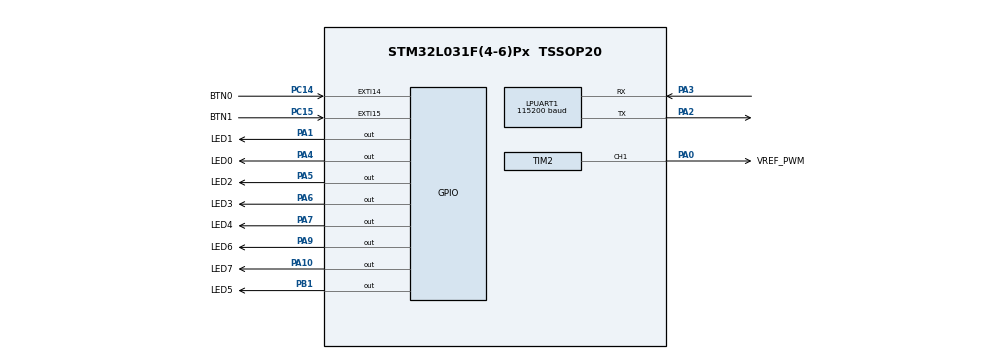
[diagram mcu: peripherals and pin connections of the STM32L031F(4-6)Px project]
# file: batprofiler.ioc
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LPUART1.BaudRate=115200
LPUART1.WordLength=UART_WORDLENGTH_8B
Mcu.Family=STM32L0
Mcu.Name=STM32L031F(4-6)Px
Mcu.Package=TSSOP20
NVIC.EXTI4_15_IRQn=true\:0\:0\:false\:false\:true\:true\:true\:true
NVIC.LPUART1_IRQn=true\:0\:0\:false\:false\:true\:true\:true\:true
NVIC.TIM21_IRQn=true\:0\:0\:false\:false\:true\:true\:true\:true
NVIC.TIM22_IRQn=true\:0\:0\:false\:false\:true\:true\:true\:true
PA0-CK_IN.GPIO_Label=VREF_PWM
PA0-CK_IN.GPIO_Speed=GPIO_SPEED_FREQ_HIGH
PA0-CK_IN.Signal=S_TIM2_CH1
PA1.GPIO_Label=LED1
PA1.Signal=GPIO_Output
PA10.GPIO_Label=LED7
PA10.Signal=GPIO_Output
PA13.Mode=Serial_Wire
PA13.Signal=SYS_SWDIO
PA14.Mode=Serial_Wire
PA14.Signal=SYS_SWCLK
PA2.Mode=Asynchronous
PA2.Signal=LPUART1_TX
PA3.Mode=Asynchronous
PA3.Signal=LPUART1_RX
PA4.GPIO_Label=LED0
PA4.Signal=GPIO_Output
PA5.GPIO_Label=LED2
PA5.Signal=GPIO_Output
PA6.GPIO_Label=LED3
PA6.Signal=GPIO_Output
PA7.GPIO_Label=LED4
PA7.Signal=GPIO_Output
PA9.GPIO_Label=LED6
PA9.Signal=GPIO_Output
PB1.GPIO_Label=LED5
PB1.Signal=GPIO_Output
PC14-OSC32_IN.GPIO_Label=BTN0
PC14-OSC32_IN.GPIO_ModeDefaultEXTI=GPIO_MODE_IT_FALLING
PC14-OSC32_IN.GPIO_PuPd=GPIO_PULLUP
PC14-OSC32_IN.Signal=GPXTI14
PC15-OSC32_OUT.GPIO_Label=BTN1
PC15-OSC32_OUT.GPIO_ModeDefaultEXTI=GPIO_MODE_IT_FALLING
PC15-OSC32_OUT.GPIO_PuPd=GPIO_PULLUP
PC15-OSC32_OUT.Signal=GPXTI15
ProjectManager.HeapSize=0x200
ProjectManager.StackSize=0x400
ProjectManager.TargetToolchain=STM32CubeIDE
RCC.AHBFreq_Value=16000000
RCC.APB1Freq_Value=16000000
RCC.APB1TimFreq_Value=16000000
RCC.APB2Freq_Value=16000000
RCC.APB2TimFreq_Value=16000000
RCC.HCLKFreq_Value=16000000
RCC.HSE_VALUE=8000000
RCC.HSI16_VALUE=16000000
RCC.HSI_VALUE=16000000
RCC.LSE_VALUE=32768
RCC.LptimClockSelection=RCC_LPTIM1CLKSOURCE_LSI
RCC.MSI_VALUE=2097000
RCC.SYSCLKFreq_VALUE=16000000
RCC.SYSCLKSource=RCC_SYSCLKSOURCE_HSI
RCC.VCOOutputFreq_Value=48000000
SH.S_TIM2_CH1.0=TIM2_CH1,PWM Generation1 CH1
TIM2.Channel-PWM\ Generation1\ CH1=TIM_CHANNEL_1
TIM2.OCFastMode_PWM-PWM\ Generation1\ CH1=TIM_OCFAST_ENABLE
TIM2.Period=10000
TIM2.Pulse-PWM\ Generation1\ CH1=2000
TIM21.Channel-Output\ Compare1\ No\ Output=TIM_CHANNEL_1
TIM21.Channel-Output\ Compare2\ No\ Output=TIM_CHANNEL_2
TIM21.ClockDivision=TIM_CLOCKDIVISION_DIV4
TIM21.Prescaler=4000
TIM22.Channel-Output\ Compare1\ No\ Output=TIM_CHANNEL_1
TIM22.Channel-Output\ Compare2\ No\ Output=TIM_CHANNEL_2
TIM22.ClockDivision=TIM_CLOCKDIVISION_DIV4
TIM22.Prescaler=4000
VP_TIM21_VS_ClockSourceINT.Mode=Internal
VP_TIM21_VS_no_output1.Mode=Output Compare1 No Output
VP_TIM21_VS_no_output2.Mode=Output Compare2 No Output
VP_TIM22_VS_ClockSourceINT.Mode=Internal
VP_TIM22_VS_no_output1.Mode=Output Compare1 No Output
VP_TIM22_VS_no_output2.Mode=Output Compare2 No Output
VP_TIM2_VS_ClockSourceINT.Mode=Internal
board=custom

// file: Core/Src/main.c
/* USER CODE BEGIN Header */
/**
  ******************************************************************************
  * @file           : main.c
  * @brief          : Main program body
  ******************************************************************************
  * @attention
  *
  * Copyright (c) 2025 STMicroelectronics.
  * All rights reserved.
  *
  * This software is licensed under terms that can be found in the LICENSE file
  * in the root directory of this software component.
  * If no LICENSE file comes with this software, it is provided AS-IS.
  *
  ******************************************************************************
  */
/* USER CODE END Header */
#include "main.h"
#include "usart.h"
#include "tim.h"
#include "gpio.h"

/* USER CODE BEGIN Includes */
#include "bat_profiler.h"
#include "str_buf.h"

/* USER CODE END Includes */

/* USER CODE BEGIN PV */
volatile uint32_t global_event = 0;

#define MAIN_STR_SIZE (128)
static char main_str[MAIN_STR_SIZE];

/* USER CODE END PV */

void SystemClock_Config(void);

/* USER CODE BEGIN 0 */
void get_program_id_string(char *str, uint16_t str_size) {
	str_buf_clear(str, str_size);
	str_buf_append_string(str, str_size, "program id: ");
	str_buf_append_string(str, str_size, PROGRAM_NAME);
	str_buf_append_string(str, str_size, ", compiled: ");
	str_buf_append_string(str, str_size, __DATE__);
	str_buf_append_string(str, str_size, ", ");
	str_buf_append_string(str, str_size, __TIME__);
	str_buf_append_string(str, str_size, "\n");
}

/* USER CODE END 0 */

int main(void)
{

  /* USER CODE BEGIN 1 */
	uint32_t primask = 0;
	uint32_t local_event = 0;

  /* USER CODE END 1 */

  /* MCU Configuration--------------------------------------------------------*/

  /* Reset of all peripherals, Initializes the Flash interface and the Systick. */
  LL_APB2_GRP1_EnableClock(LL_APB2_GRP1_PERIPH_SYSCFG);
  LL_APB1_GRP1_EnableClock(LL_APB1_GRP1_PERIPH_PWR);

  /* SysTick_IRQn interrupt configuration */
  NVIC_SetPriority(SysTick_IRQn, 3);

  /* Configure the system clock */
  SystemClock_Config();

  /* Initialize all configured peripherals */
  MX_GPIO_Init();
  MX_TIM2_Init();
  MX_LPUART1_UART_Init();
  MX_TIM21_Init();
  MX_TIM22_Init();
  /* USER CODE BEGIN 2 */

  gpio_set_led(ALL_LEDS_MASK);

  get_program_id_string(main_str, MAIN_STR_SIZE);
  uart_send_str_buf_blocking(main_str, MAIN_STR_SIZE);

  tim21_start();
  tim22_start();

  gpio_clear_led(ALL_LEDS_MASK);
  bp_init();
  bp_print_out_profiles();
  bp_start();

  /* USER CODE END 2 */

  /* Infinite loop */
  /* USER CODE BEGIN WHILE */
  while (1)
  {
	  if(local_event & EV_BTN0) {
	        tim21_ch1_start_single_timeout(1000, EV_BTN0_TIMEOUT);
	        bp_process_events(EV_BTN0_PRESSED);
	      }
	      if(local_event & EV_BTN0_TIMEOUT) {
	      	if(LL_GPIO_IsInputPinSet(BTN0_GPIO_Port, BTN0_Pin) == 0) {
	      		// still pressed
	      		bp_process_events(EV_BTN0_LONG);
	      	}
	      }
	      if(local_event & EV_BTN1) {
	        tim21_ch2_start_single_timeout(1000, EV_BTN1_TIMEOUT);
	        bp_process_events(EV_BTN1_PRESSED);
	      }
	      if(local_event & EV_BTN1_TIMEOUT) {
	      	if(LL_GPIO_IsInputPinSet(BTN1_GPIO_Port, BTN1_Pin) == 0) {
	  			// still pressed
	      		bp_process_events(EV_BTN1_LONG);
	      	}
	      }
	      if(local_event & EV_BPROFILER_TIMEOUT1) {
	    	  bp_process_events(EV_TIMEOUT1);
	      }

	  		// wait for global events
	  		while(1) {
	  			// sync global events
	  			primask = __get_PRIMASK();  // Save current interrupt state
	  			__disable_irq();            // Disable all interrupts

	  			local_event = global_event;
	  			global_event = 0;

	  			__set_PRIMASK(primask);     // Restore previous interrupt state

	  			if(local_event) {
	  				// process event
	  				break;
	  			}

	  			// else go to sleep
	  			LL_LPM_EnableSleep();  // This clears SLEEPDEEP

	  			// Enter sleep mode (Wait For Interrupt)
	  			__WFI();  // or __WFE();

	  		}
    /* USER CODE END WHILE */

  }
}

void SystemClock_Config(void)
{
  LL_FLASH_SetLatency(LL_FLASH_LATENCY_0);
  while(LL_FLASH_GetLatency()!= LL_FLASH_LATENCY_0)
  {
  }
  LL_PWR_SetRegulVoltageScaling(LL_PWR_REGU_VOLTAGE_SCALE1);
  while (LL_PWR_IsActiveFlag_VOS() != 0)
  {
  }
  LL_RCC_HSI_Enable();

   /* Wait till HSI is ready */
  while(LL_RCC_HSI_IsReady() != 1)
  {

  }
  LL_RCC_HSI_SetCalibTrimming(16);
  LL_RCC_SetAHBPrescaler(LL_RCC_SYSCLK_DIV_1);
  LL_RCC_SetAPB1Prescaler(LL_RCC_APB1_DIV_1);
  LL_RCC_SetAPB2Prescaler(LL_RCC_APB2_DIV_1);
  LL_RCC_SetSysClkSource(LL_RCC_SYS_CLKSOURCE_HSI);

   /* Wait till System clock is ready */
  while(LL_RCC_GetSysClkSource() != LL_RCC_SYS_CLKSOURCE_STATUS_HSI)
  {

  }

  LL_Init1msTick(16000000);

  LL_SetSystemCoreClock(16000000);
  LL_RCC_SetLPUARTClockSource(LL_RCC_LPUART1_CLKSOURCE_PCLK1);
}

void Error_Handler(void)
{
  __disable_irq();
  while (1)
  {
  }
}
